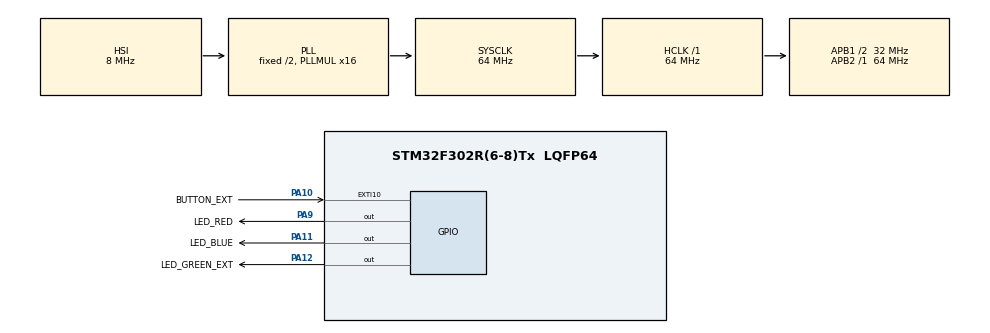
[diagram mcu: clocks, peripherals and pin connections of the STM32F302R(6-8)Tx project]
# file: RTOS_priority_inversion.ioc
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Mcu.Family=STM32F3
Mcu.Name=STM32F302R(6-8)Tx
Mcu.Package=LQFP64
NVIC.EXTI15_10_IRQn=true\:6\:0\:true\:false\:true\:true\:true\:true
NVIC.PriorityGroup=NVIC_PRIORITYGROUP_4
NVIC.TIM6_DAC_IRQn=true\:15\:0\:false\:false\:true\:false\:true\:true
NVIC.TimeBase=TIM6_DAC_IRQn
NVIC.TimeBaseIP=TIM6
PA10.GPIO_Label=BUTTON_EXT
PA10.GPIO_ModeDefaultEXTI=GPIO_MODE_IT_FALLING
PA10.Signal=GPXTI10
PA11.GPIO_Label=LED_BLUE
PA11.Signal=GPIO_Output
PA12.GPIO_Label=LED_GREEN_EXT
PA12.Signal=GPIO_Output
PA13.Mode=Serial_Wire
PA13.Signal=SYS_JTMS-SWDIO
PA14.Mode=Serial_Wire
PA14.Signal=SYS_JTCK-SWCLK
PA9.GPIO_Label=LED_RED
PA9.Signal=GPIO_Output
ProjectManager.HeapSize=0x200
ProjectManager.StackSize=0x400
ProjectManager.TargetToolchain=STM32CubeIDE
RCC.AHBFreq_Value=64000000
RCC.APB1CLKDivider=RCC_HCLK_DIV2
RCC.APB1Freq_Value=32000000
RCC.APB1TimFreq_Value=64000000
RCC.APB2Freq_Value=64000000
RCC.APB2TimFreq_Value=64000000
RCC.CortexFreq_Value=64000000
RCC.HCLKFreq_Value=64000000
RCC.HSE_VALUE=8000000
RCC.HSI_VALUE=8000000
RCC.LSE_VALUE=32768
RCC.PLLM=8
RCC.PLLMUL=RCC_PLL_MUL16
RCC.PLLN=336
RCC.PLLP=RCC_PLLP_DIV4
RCC.PLLQ=7
RCC.RCC_PLLsource_Clock_Source_FROM_HSE=RCC_HSE_PREDIV_DIV2
RCC.SYSCLKFreq_VALUE=64000000
RCC.SYSCLKSourceVirtual=RCC_SYSCLKSOURCE_PLLCLK
RCC.USBFreq_Value=64000000
VP_SYS_VS_tim6.Mode=TIM6
board=NUCLEO-F302R8

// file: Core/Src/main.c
/* USER CODE BEGIN Header */
/**
  ******************************************************************************
  * @file           : main.c
  * @brief          : Main program body
  ******************************************************************************
  * @attention
  *
  * Copyright (c) 2025 STMicroelectronics.
  * All rights reserved.
  *
  * This software is licensed under terms that can be found in the LICENSE file
  * in the root directory of this software component.
  * If no LICENSE file comes with this software, it is provided AS-IS.
  *
  ******************************************************************************
  */
/* USER CODE END Header */
#include "main.h"
#include <stdbool.h>
/* USER CODE BEGIN Includes */
#include "FreeRTOS.h"
#include "task.h"

#include "SEGGER_SYSVIEW.h"
/* USER CODE END Includes */

/* USER CODE BEGIN PV */
TaskHandle_t xGreenLEDTaskHandle;
TaskHandle_t xRedLEDTaskHandle;
//TaskHandle_t xBlueLEDTaskHandle;
//TaskHandle_t xExtButtonTaskHandle;
bool button_status = 0;
//TaskHandle_t volatile next_task_handle = NULL;

/* USER CODE END PV */

void SystemClock_Config(void);
static void MX_GPIO_Init(void);
/* USER CODE BEGIN PFP */
void vGreenLEDTask(void *pvParameters);
void vRedLEDTask(void *pvParameters);
//void vBlueLEDTask(void *pvParameters);
//void vExtButtonTask(void *pvParameters);

void button_interrupt_handler(void);
void check_button(void);

void vApplicationStackOverflowHook(TaskHandle_t xTask, char *pcTaskName)
{
    // Handle error: a task has run out of stack space
    // You could log, blink an LED, reset the MCU, etc.

    (void)xTask;
    (void)pcTaskName;

    // For debugging: stay here
    taskDISABLE_INTERRUPTS();
    for(;;);
}

/* USER CODE END PFP */

int main(void)
{

  /* MCU Configuration--------------------------------------------------------*/

  /* Reset of all peripherals, Initializes the Flash interface and the Systick. */
  HAL_Init();

  /* Configure the system clock */
  SystemClock_Config();

  /* Initialize all configured peripherals */
  MX_GPIO_Init();
  /* USER CODE BEGIN 2 */
  BaseType_t status;

  //NEED TO DEFINE THIS AGAIN because FREERTOS initializes this in vTaskStartScheduler, but SEGGER_SYSVIEW_start() needs it earlier!!!
  //cannot start without it (it is initialized by HAL after the scheduler start)
  NVIC_SetPriorityGrouping(0);  // same as NVIC_PRIORITYGROUP_4
  SEGGER_SYSVIEW_Conf();
  SEGGER_SYSVIEW_Start();

//  SEGGER_SYSVIEW_Print("Hello SystemView!");

  status = xTaskCreate(vGreenLEDTask, "GREEN_LED", 200, NULL,3, &xGreenLEDTaskHandle);
  configASSERT(status == pdPASS);

  status = xTaskCreate(vRedLEDTask, "RED_LED", 200, NULL,2, &xRedLEDTaskHandle);
  configASSERT(status == pdPASS);

//  status = xTaskCreate(vBlueLEDTask, "BLUE_LED", 200, NULL,2, &xBlueLEDTaskHandle);
//  configASSERT(status == pdPASS);

//  next_task_handle = xGreenLEDTaskHandle;

//  status = xTaskCreate(vExtButtonTask, "EXT_BUTTON", 200, NULL,4, &xExtButtonTaskHandle);
//  configASSERT(status == pdPASS);

  vTaskStartScheduler();
  /* USER CODE END 2 */

  /* Infinite loop */
  while (1)
  {

  }
}

void SystemClock_Config(void)
{
  RCC_OscInitTypeDef RCC_OscInitStruct = {0};
  RCC_ClkInitTypeDef RCC_ClkInitStruct = {0};

  /** Initializes the RCC Oscillators according to the specified parameters
  * in the RCC_OscInitTypeDef structure.
  */
  RCC_OscInitStruct.OscillatorType = RCC_OSCILLATORTYPE_HSI;
  RCC_OscInitStruct.HSIState = RCC_HSI_ON;
  RCC_OscInitStruct.HSICalibrationValue = RCC_HSICALIBRATION_DEFAULT;
  RCC_OscInitStruct.PLL.PLLState = RCC_PLL_ON;
  RCC_OscInitStruct.PLL.PLLSource = RCC_PLLSOURCE_HSI;
  RCC_OscInitStruct.PLL.PLLMUL = RCC_PLL_MUL16;
  if (HAL_RCC_OscConfig(&RCC_OscInitStruct) != HAL_OK)
  {
    Error_Handler();
  }

  /** Initializes the CPU, AHB and APB buses clocks
  */
  RCC_ClkInitStruct.ClockType = RCC_CLOCKTYPE_HCLK|RCC_CLOCKTYPE_SYSCLK
                              |RCC_CLOCKTYPE_PCLK1|RCC_CLOCKTYPE_PCLK2;
  RCC_ClkInitStruct.SYSCLKSource = RCC_SYSCLKSOURCE_PLLCLK;
  RCC_ClkInitStruct.AHBCLKDivider = RCC_SYSCLK_DIV1;
  RCC_ClkInitStruct.APB1CLKDivider = RCC_HCLK_DIV2;
  RCC_ClkInitStruct.APB2CLKDivider = RCC_HCLK_DIV1;

  if (HAL_RCC_ClockConfig(&RCC_ClkInitStruct, FLASH_LATENCY_2) != HAL_OK)
  {
    Error_Handler();
  }
}

static void MX_GPIO_Init(void)
{
  GPIO_InitTypeDef GPIO_InitStruct = {0};

  /* GPIO Ports Clock Enable */
  __HAL_RCC_GPIOA_CLK_ENABLE();

  /*Configure GPIO pin Output Level */
  HAL_GPIO_WritePin(GPIOA, LED_RED_Pin|LED_BLUE_Pin|LED_GREEN_EXT_Pin, GPIO_PIN_RESET);

  /*Configure GPIO pins : LED_RED_Pin LED_BLUE_Pin LED_GREEN_EXT_Pin */
  GPIO_InitStruct.Pin = LED_RED_Pin|LED_BLUE_Pin|LED_GREEN_EXT_Pin;
  GPIO_InitStruct.Mode = GPIO_MODE_OUTPUT_PP;
  GPIO_InitStruct.Pull = GPIO_NOPULL;
  GPIO_InitStruct.Speed = GPIO_SPEED_FREQ_LOW;
  HAL_GPIO_Init(GPIOA, &GPIO_InitStruct);

  /*Configure GPIO pin : BUTTON_EXT_Pin */
  GPIO_InitStruct.Pin = BUTTON_EXT_Pin;
  GPIO_InitStruct.Mode = GPIO_MODE_IT_FALLING;
  GPIO_InitStruct.Pull = GPIO_NOPULL;
  HAL_GPIO_Init(BUTTON_EXT_GPIO_Port, &GPIO_InitStruct);

  /* EXTI interrupt init*/
  HAL_NVIC_SetPriority(EXTI15_10_IRQn, 6, 0);
  HAL_NVIC_EnableIRQ(EXTI15_10_IRQn);

}

/* USER CODE BEGIN 4 */

void HAL_GPIO_EXTI_Callback(uint16_t GPIO_Pin)
{
    if (GPIO_Pin == BUTTON_EXT_Pin)
    {
        button_interrupt_handler();
    }
}

void button_interrupt_handler(void){

	//This will implement context switch to any task that exited suspended/blocked state and went to ready state
//	BaseType_t pxHigherPriorityTaskWoken = pdFALSE;

	traceISR_ENTER();

	button_status = 1;

	traceISR_EXIT();
}

void check_button(void){
	taskENTER_CRITICAL();
	if (button_status){
		UBaseType_t p1 = uxTaskPriorityGet(xGreenLEDTaskHandle);
		UBaseType_t p2 = uxTaskPriorityGet(xRedLEDTaskHandle);
		vTaskPrioritySet(xRedLEDTaskHandle, p1);
		vTaskPrioritySet(xGreenLEDTaskHandle, p2);
		button_status=0;
	}
	taskEXIT_CRITICAL();
}

void vGreenLEDTask(void *pvParameters){
	while(1){
		SEGGER_SYSVIEW_PrintfTarget("Toggling Green LED");
		HAL_GPIO_TogglePin(LED_GREEN_EXT_GPIO_Port, LED_GREEN_EXT_Pin);
		HAL_Delay(pdMS_TO_TICKS(1000));
		check_button();
	}
}

void vRedLEDTask(void *pvParameters){
	while(1){
		SEGGER_SYSVIEW_PrintfTarget("Toggling Red LED");
		HAL_GPIO_TogglePin(LED_RED_GPIO_Port, LED_RED_Pin);
		HAL_Delay(pdMS_TO_TICKS(100));
		check_button();

	}
}

//void vBlueLEDTask(void *pvParameters){
//	BaseType_t status;
//
//	while(1){
//		SEGGER_SYSVIEW_PrintfTarget("Toggling Blue LED");
//		HAL_GPIO_TogglePin(LED_BLUE_GPIO_Port, LED_BLUE_Pin);
//		vTaskDelay(pdMS_TO_TICKS(100));
//
//	}
//}

//void vExtButtonTask(void *pvParameters){
//
//	GPIO_PinState btn_read = 0;
//	GPIO_PinState prev_read = 1;
//
//	while(1){
//		btn_read = HAL_GPIO_ReadPin(BUTTON_EXT_GPIO_Port, BUTTON_EXT_Pin);
//		if (btn_read){
//			if (!prev_read){
//
//					UBaseType_t prio1 = uxTaskPriorityGet(xRedLEDTaskHandle);
//					UBaseType_t prio2 = uxTaskPriorityGet(xGreenLEDTaskHandle);
//
//					vTaskPrioritySet(xRedLEDTaskHandle, prio2);
//					vTaskPrioritySet(xGreenLEDTaskHandle, prio1);
//
//				}
//
//			}
//
//		prev_read = btn_read;
//		vTaskDelay(pdMS_TO_TICKS(10)); //Only consider long press of btn (longer than 10ms)
//	}
//}

/* USER CODE END 4 */

void HAL_TIM_PeriodElapsedCallback(TIM_HandleTypeDef *htim)
{
  if (htim->Instance == TIM6)
  {
    HAL_IncTick();
  }
}

void Error_Handler(void)
{
  __disable_irq();
  while (1)
  {
  }
}
